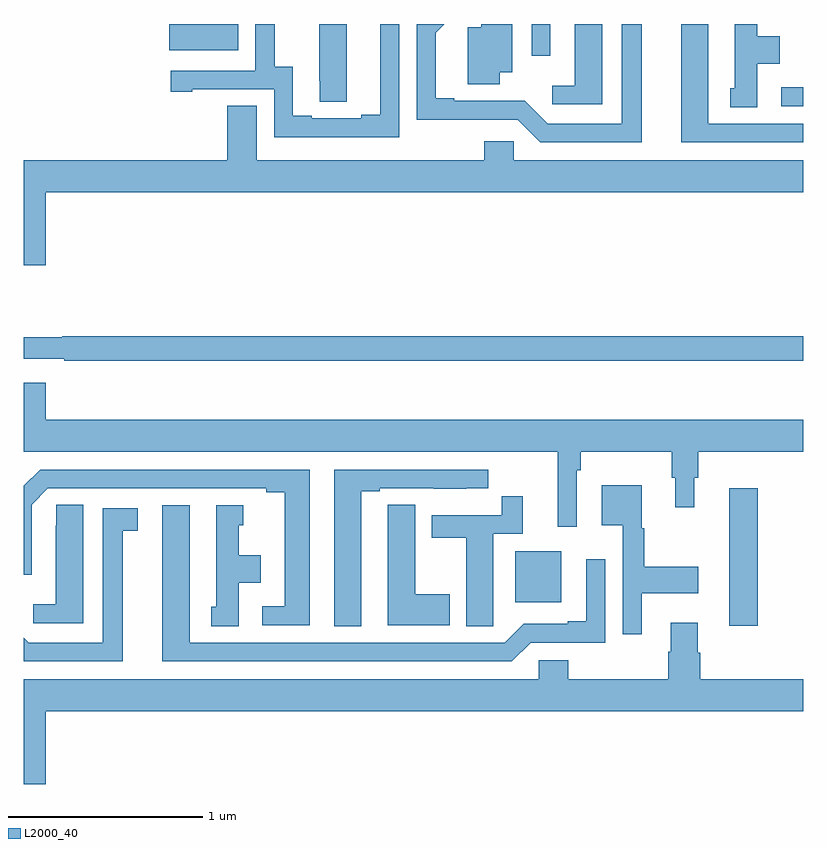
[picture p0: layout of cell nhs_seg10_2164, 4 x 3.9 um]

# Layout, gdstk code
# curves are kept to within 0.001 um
import gdstk
lib = gdstk.Library(unit=1e-6, precision=1e-09)
def R(c, l, rs):  # rectangles x0, y0, x1, y1
    for r in rs: c.add(gdstk.rectangle(r[:2], r[2:], *l))
def P(c, l, *ps):  # polygons
    for p in ps: c.add(gdstk.Polygon(p, *l))
L2000_40 = (2000, 40)

nhs_seg10_2164 = lib.new_cell('nhs_seg10_2164')
R(nhs_seg10_2164, L2000_40, [(228.62,1311.411,228.767,1312.117), (227.522,1311.53,227.758,1311.793), (228.888,1314.078,229,1314.174), (227.607,1314.336,227.703,1314.5), (225.746,1314.365,226.099,1314.5)])
P(nhs_seg10_2164, L2000_40, [(228.172,1314.5),(228.068,1314.5),(228.068,1313.988),(227.688,1313.988),(227.57,1314.106),(227.209,1314.105),(227.209,1314.118),(227.113,1314.118),(227.113,1314.454),(227.159,1314.5),(227.016,1314.5),(227.016,1314.008),(227.535,1314.009),(227.652,1313.892),(228.172,1313.892)],
  [(226.926,1314.5),(226.829,1314.5),(226.829,1314.035),(226.733,1314.035),(226.733,1314.015),(226.477,1314.015),(226.477,1314.03),(226.381,1314.03),(226.381,1314.281),(226.287,1314.281),(226.287,1314.5),(226.188,1314.5),(226.188,1314.261),(225.753,1314.261),(225.753,1314.153),(225.865,1314.153),(225.865,1314.165),(226.284,1314.165),(226.284,1313.919),(226.926,1313.919)],
  [(228.766,1314.296),(228.88,1314.296),(228.88,1314.436),(228.766,1314.436),(228.766,1314.5),(228.65,1314.5),(228.65,1314.171),(228.626,1314.171),(228.626,1314.073),(228.766,1314.073)],
  [(229,1313.988),(228.514,1313.988),(228.514,1314.5),(228.374,1314.5),(228.374,1313.892),(229,1313.892)],
  [(227.968,1314.5),(227.828,1314.5),(227.828,1314.184),(227.712,1314.184),(227.712,1314.087),(227.968,1314.087)],
  [(226.657,1314.5),(226.517,1314.5),(226.517,1314.208),(226.518,1314.208),(226.518,1314.1),(226.657,1314.1)],
  [(227.443,1314.251),(227.506,1314.251),(227.506,1314.5),(227.348,1314.5),(227.348,1314.484),(227.279,1314.484),(227.279,1314.19),(227.443,1314.19)],
  [(227.363,1313.898),(227.363,1313.8),(226.195,1313.8),(226.195,1314.08),(226.043,1314.08),(226.043,1313.8),(225,1313.8),(225,1313.262),(225.112,1313.262),(225.112,1313.636),(229,1313.636),(229,1313.8),(227.514,1313.8),(227.514,1313.898)],
  [(229,1312.898),(225.197,1312.898),(225.197,1312.891),(225,1312.891),(225,1312.782),(225.208,1312.782),(225.208,1312.77),(229,1312.77)],
  [(227.838,1312.208),(227.858,1312.208),(227.858,1312.304),(228.325,1312.304),(228.325,1312.17),(228.344,1312.17),(228.344,1312.02),(228.442,1312.02),(228.442,1312.17),(228.461,1312.17),(228.461,1312.304),(229,1312.304),(229,1312.468),(225.112,1312.468),(225.112,1312.657),(225,1312.657),(225,1312.304),(227.741,1312.304),(227.741,1311.918),(227.838,1311.918)],
  [(226.732,1312.101),(226.828,1312.101),(226.828,1312.116),(227.104,1312.116),(227.104,1312.115),(227.27,1312.115),(227.27,1312.116),(227.383,1312.116),(227.383,1312.212),(226.592,1312.212),(226.592,1311.409),(226.732,1311.409)],
  [(226.468,1312.212),(225.083,1312.212),(225,1312.129),(225,1311.672),(225.039,1311.672),(225.039,1312.032),(225.123,1312.116),(226.244,1312.116),(226.244,1312.096),(226.34,1312.096),(226.34,1311.51),(226.224,1311.51),(226.224,1311.414),(226.468,1311.414)],
  [(228.172,1311.578),(228.463,1311.578),(228.463,1311.713),(228.184,1311.713),(228.184,1311.912),(228.172,1311.912),(228.172,1312.132),(227.966,1312.132),(227.966,1311.926),(228.075,1311.926),(228.075,1311.366),(228.172,1311.366)],
  [(227.409,1311.52),(227.41,1311.52),(227.41,1311.882),(227.561,1311.882),(227.561,1312.075),(227.452,1312.075),(227.452,1311.978),(227.093,1311.978),(227.093,1311.862),(227.27,1311.862),(227.27,1311.409),(227.409,1311.409)],
  [(227.185,1311.573),(227.008,1311.573),(227.008,1312.031),(226.869,1312.031),(226.869,1311.923),(226.868,1311.923),(226.868,1311.413),(227.185,1311.413)],
  [(225.304,1312.031),(225.165,1312.031),(225.165,1311.923),(225.164,1311.923),(225.164,1311.52),(225.048,1311.52),(225.048,1311.423),(225.304,1311.423)],
  [(226.102,1311.632),(226.216,1311.632),(226.216,1311.772),(226.102,1311.772),(226.102,1311.927),(226.126,1311.927),(226.126,1312.03),(225.986,1312.03),(225.986,1311.507),(225.962,1311.507),(225.962,1311.409),(226.102,1311.409)],
  [(227.601,1311.324),(227.985,1311.324),(227.985,1311.751),(227.888,1311.751),(227.888,1311.433),(227.792,1311.433),(227.792,1311.42),(227.565,1311.42),(227.469,1311.324),(225.85,1311.324),(225.85,1312.03),(225.71,1312.03),(225.71,1311.228),(227.505,1311.228)],
  [(225.508,1311.898),(225.583,1311.898),(225.583,1312.014),(225.404,1312.014),(225.404,1311.324),(225.024,1311.324),(225,1311.348),(225,1311.228),(225.508,1311.228)],
  [(225.112,1310.972),(229,1310.972),(229,1311.136),(228.473,1311.136),(228.473,1311.273),(228.46,1311.273),(228.46,1311.427),(228.32,1311.427),(228.32,1311.278),(228.308,1311.278),(228.308,1311.136),(227.795,1311.136),(227.795,1311.234),(227.643,1311.234),(227.643,1311.136),(225,1311.136),(225,1310.598),(225.112,1310.598)])

lib.write_gds('nhs_seg10_2164.gds')
